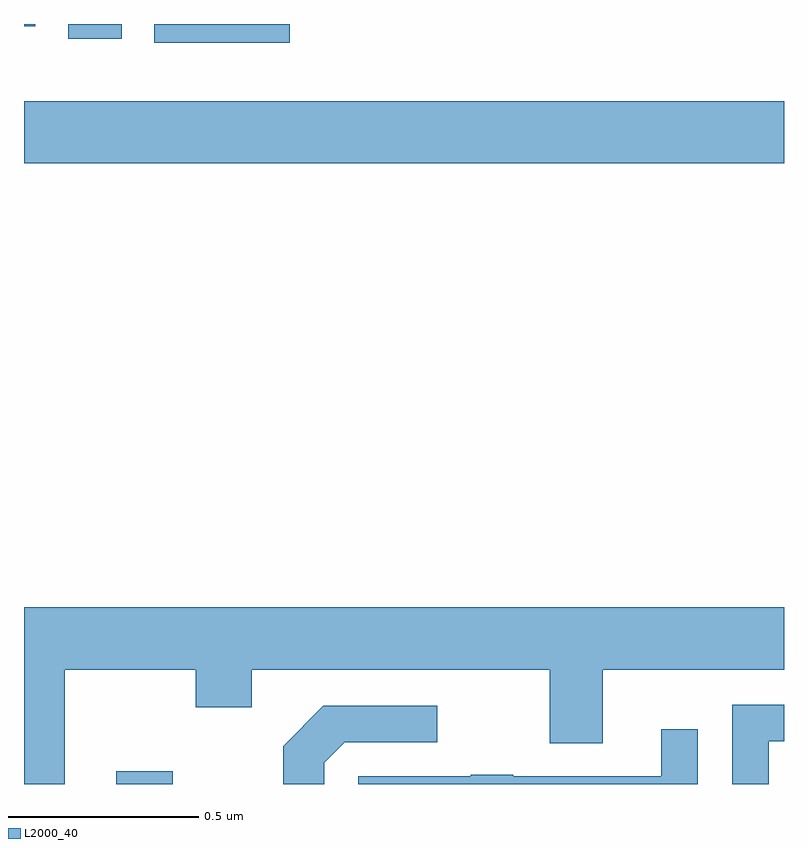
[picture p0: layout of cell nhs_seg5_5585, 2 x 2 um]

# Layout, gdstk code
import gdstk
lib = gdstk.Library(unit=1e-6, precision=1e-09)
def R(c, l, rs):  # rectangles x0, y0, x1, y1
    for r in rs: c.add(gdstk.rectangle(r[:2], r[2:], *l))
def P(c, l, *ps):  # polygons
    for p in ps: c.add(gdstk.Polygon(p, *l))
L2000_40 = (2000, 40)

nhs_seg5_5585 = lib.new_cell('nhs_seg5_5585')
R(nhs_seg5_5585, L2000_40, [(185.243,849.799,185.392,849.832), (185,851.432,187,851.596), (185.343,851.75,185.699,851.799), (185.117,851.76,185.257,851.799), (185,851.793,185.029,851.799)])
P(nhs_seg5_5585, L2000_40, [(185.107,850.1),(185.452,850.1),(185.452,850.001),(185.599,850.001),(185.599,850.1),(186.383,850.1),(186.383,849.906),(186.523,849.906),(186.523,850.1),(187,850.1),(187,850.264),(185,850.264),(185,849.799),(185.107,849.799)],
  [(186.96,849.912),(187,849.912),(187,850.008),(186.864,850.008),(186.864,849.799),(186.96,849.799)],
  [(185.79,849.855),(185.844,849.909),(186.088,849.909),(186.088,850.005),(185.787,850.005),(185.682,849.899),(185.682,849.799),(185.79,849.799)],
  [(186.773,849.943),(186.677,849.943),(186.677,849.819),(186.287,849.819),(186.287,849.824),(186.175,849.824),(186.175,849.819),(185.88,849.819),(185.88,849.799),(186.773,849.799)])

lib.write_gds('nhs_seg5_5585.gds')
